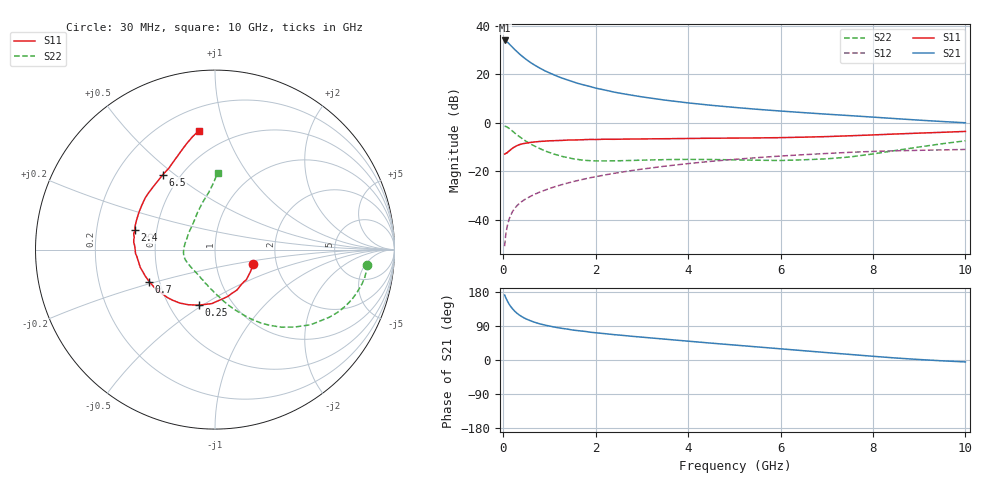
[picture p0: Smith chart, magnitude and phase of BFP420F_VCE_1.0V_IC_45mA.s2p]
! Infineon Technologies  Discrete & RF Semiconductors
! BFP420F
! VCE =  1.0 V,  IC =  45 mA
! Common Emitter S-Parameters:  Sep 2011
# GHz  S  MA  R  50
!  f  S11  S21  S12  S22
! GHz  MAG  ANG  MAG  ANG  MAG  ANG  MAG  ANG
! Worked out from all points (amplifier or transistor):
!   54 points, 30 MHz to 10 GHz, reference 50 ohm
!   highest |S21| = 33.9 dB at 30 MHz (marker M1)
!   |S21| within 3 dB of that: start of sweep to 210.8 MHz
!   unconditionally stable (mu >= 1): 1.089 GHz to end of sweep
!   at 120 MHz: K = 0.50, MSG = 36.4 dB, |S12| = -40.2 dB
!   at 1.3 GHz: K = 1.05, MAG = 20.4 dB, |S12| = -25.3 dB
!   at 10 GHz: K = 1.22, MAG = 2.7 dB, |S12| = -10.9 dB
!   S11 on the Smith chart (normalised r, x): 30 MHz: 1.51, -0.26; 250 MHz: 0.70, -0.48; 700 MHz: 0.44, -0.19; 2.4 GHz: 0.38, +0.10; 6.5 GHz: 0.40, +0.45; 10 GHz: 0.34, +0.81
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0.03  0.2287 -21.1  49.76 171.5  0.0029 86.5  0.853 -5.6
0.05  0.2327 -31.5  48.49 165.7  0.0046 83.3  0.8485 -10.5
0.07  0.2422 -44.0  47.56 160.7  0.006 81.0  0.8326 -15.2
0.1  0.2514 -58.5  45.12 153.3  0.0084 78.5  0.8025 -21.6
0.12  0.26 -67.7  43.18 148.8  0.0098 76.0  0.7785 -25.4
0.15  0.2744 -78.4  40.32 143.2  0.0118 74.3  0.7393 -30.7
0.2  0.3014 -93.4  36.1 135.3  0.0149 70.7  0.6776 -38.2
0.25  0.3216 -105.9  32.24 128.6  0.0175 68.4  0.6179 -44.3
0.35  0.3567 -123.4  26.32 118.5  0.022 65.4  0.5209 -54.1
0.45  0.3769 -135.1  21.95 111.1  0.0259 64.1  0.447 -61.4
0.6  0.3982 -147.8  17.23 103.0  0.0311 63.5  0.364 -70.3
0.7  0.4074 -154.1  15.06 98.8  0.0346 63.4  0.3255 -75.4
0.9  0.4209 -163.1  11.83 92.2  0.0412 63.6  0.2665 -84.6
1.2  0.4339 -172.7  8.867 84.8  0.0513 63.7  0.2141 -98.4
1.7  0.4492 176.7  6.189 76.4  0.068 63.0  0.1716 -120.0
2.4  0.4594 166.3  4.3 66.9  0.0916 60.5  0.1657 -143.2
3.5  0.4722 153.5  2.944 55.0  0.1285 54.9  0.1752 -161.9
5.5  0.4905 134.9  1.903 34.5  0.1929 41.4  0.1704 168.4
6.5  0.5086 124.8  1.626 24.5  0.2215 34.1  0.174 147.2
7  0.5223 119.3  1.511 19.5  0.2349 30.3  0.182 135.8
8.5  0.5914 107.5  1.222 5.2  0.2664 18.4  0.2713 104.8
10  0.6674 97.9  1.006 -5.1  0.284 9.4  0.4273 88.1
